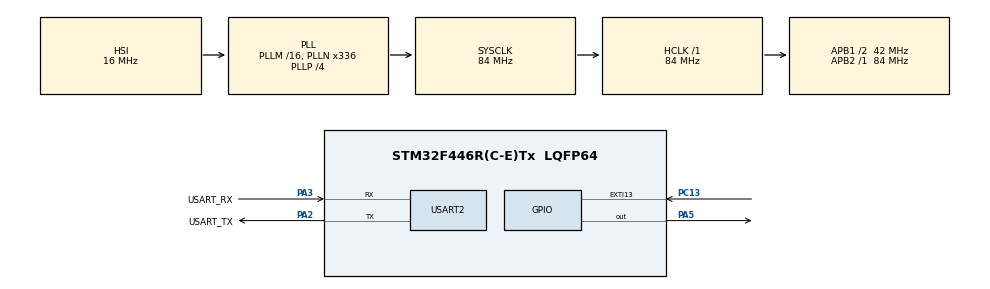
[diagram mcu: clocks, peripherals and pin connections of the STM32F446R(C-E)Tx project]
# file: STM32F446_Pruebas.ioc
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Mcu.Family=STM32F4
Mcu.Name=STM32F446R(C-E)Tx
Mcu.Package=LQFP64
NUCLEO-F446RE.BUTTON=1
NUCLEO-F446RE.LD1=false
NVIC.EXTI15_10_IRQn=true\:0\:0\:false\:false\:true\:false\:true\:true
NVIC.PriorityGroup=NVIC_PRIORITYGROUP_0
NVIC.USART2_IRQn=true\:0\:0\:false\:false\:true\:true\:true\:true
PA13.GPIO_Label=TMS
PA13.Mode=Serial_Wire
PA13.Signal=SYS_JTMS-SWDIO
PA14.GPIO_Label=TCK
PA14.Mode=Serial_Wire
PA14.Signal=SYS_JTCK-SWCLK
PA2.GPIO_Label=USART_TX
PA2.Mode=Asynchronous
PA2.Signal=USART2_TX
PA3.GPIO_Label=USART_RX
PA3.Mode=Asynchronous
PA3.Signal=USART2_RX
PA5.Signal=GPIO_Output
PB3.GPIO_Label=SWO
PB3.Signal=SYS_JTDO-SWO
PC13.Signal=GPXTI13
PC14-OSC32_IN.Signal=RCC_OSC32_IN
PC15-OSC32_OUT.Signal=RCC_OSC32_OUT
PH0-OSC_IN.Signal=RCC_OSC_IN
PH1-OSC_OUT.Signal=RCC_OSC_OUT
ProjectManager.HeapSize=0x200
ProjectManager.StackSize=0x400
ProjectManager.TargetToolchain=CMake
RCC.AHBFreq_Value=84000000
RCC.APB1CLKDivider=RCC_HCLK_DIV2
RCC.APB1Freq_Value=42000000
RCC.APB1TimFreq_Value=84000000
RCC.APB2Freq_Value=84000000
RCC.APB2TimFreq_Value=84000000
RCC.CortexFreq_Value=84000000
RCC.FLatency-AdvancedSettings=FLASH_LATENCY_2
RCC.HCLKFreq_Value=84000000
RCC.HSE_VALUE=8000000
RCC.HSI_VALUE=16000000
RCC.LSE_VALUE=32768
RCC.PLLN=336
RCC.PLLP=RCC_PLLP_DIV4
RCC.SYSCLKFreq_VALUE=84000000
RCC.SYSCLKSource=RCC_SYSCLKSOURCE_PLLCLK
RCC.USBFreq_Value=168000000
RCC.VCOOutputFreq_Value=336000000
USART2.VirtualMode=VM_ASYNC
VP_NUCLEO-F446RE_VS_BSP_COMMON.Mode=COMMON
board=NUCLEO-F446RE

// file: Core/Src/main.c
/* USER CODE BEGIN Header */
/**
  ******************************************************************************
  * @file           : main.c
  * @brief          : Main program body
  ******************************************************************************
  * @attention
  *
  * Copyright (c) 2026 STMicroelectronics.
  * All rights reserved.
  *
  * This software is licensed under terms that can be found in the LICENSE file
  * in the root directory of this software component.
  * If no LICENSE file comes with this software, it is provided AS-IS.
  *
  ******************************************************************************
  */
/* USER CODE END Header */
#include "main.h"

/* USER CODE BEGIN Includes */
#include "stm32f4xx_hal.h"
#include "stm32f4xx_hal_uart.h"
#include "stm32f4xx_nucleo.h"
#include <string.h>
/* USER CODE END Includes */

UART_HandleTypeDef huart2;

/* USER CODE BEGIN PV */
#define UART_RX_BUFFER_SIZE 64U

static uint8_t uart_rx_it_byte; //Received byte by the HAL through interruption

static volatile uint8_t uart_rx_buffer[UART_RX_BUFFER_SIZE]; //Here the bytes pending to proccess are stored

static volatile uint8_t uart_rx_head = 0U; //Position were the UART will write the next byte
static volatile uint8_t uart_rx_tail = 0U; //Position where the main thread will read

static volatile uint32_t uart_rx_dropped = 0U; //Count of the discard bytes if the buffer is full

/* USER CODE END PV */

void SystemClock_Config(void);
static void MX_GPIO_Init(void);
static void MX_USART2_UART_Init(void);

/* USER CODE BEGIN 0 */
static void UART_SendText(const char *text){
  HAL_UART_Transmit(&huart2, (const uint8_t *)text, (uint16_t)strlen(text), 100);
}

static uint8_t UART_ReadByte(uint8_t *byte){
  //Check if the buffer is empty
  if(uart_rx_head == uart_rx_tail){
    return 0U;
  }

  *byte = uart_rx_buffer[uart_rx_tail];

  //Circular buffer
  uart_rx_tail = (uint8_t)((uart_rx_tail + 1U) % UART_RX_BUFFER_SIZE);

  return 1U;
}

/* USER CODE END 0 */

int main(void)
{

  /* MCU Configuration--------------------------------------------------------*/

  /* Reset of all peripherals, Initializes the Flash interface and the Systick. */
  HAL_Init();

  /* Configure the system clock */
  SystemClock_Config();

  /* Initialize all configured peripherals */
  MX_GPIO_Init();
  MX_USART2_UART_Init();
  /* USER CODE BEGIN 2 */
  BSP_LED_Init(LED2);
  BSP_LED_Off(LED2);

  uint8_t rx_byte = 0;
  char command[32] = {0};
  uint8_t command_length = 0;
  uint8_t discard_line = 0;
  uint8_t led_on = 0;

  UART_SendText("STM32F446RE ready\r\n");

  if (HAL_UART_Receive_IT(&huart2, &uart_rx_it_byte, 1U) != HAL_OK)
{
    Error_Handler();
}

  /* USER CODE END 2 */

  /* Initialize USER push-button, will be used to trigger an interrupt each time it's pressed.*/
  BSP_PB_Init(BUTTON_USER, BUTTON_MODE_EXTI);

  /* Infinite loop */
  while (1) {

    /* USER CODE BEGIN 3 */
    while (UART_ReadByte(&rx_byte) != 0U) {

      if (rx_byte == '\r' || rx_byte == '\n') {
        if (discard_line) {
          UART_SendText("ERROR: Command too long \r\n");
          discard_line = 0;
          command_length = 0;
        } else if (command_length > 0) {
          command[command_length] = '\0';

          if (strcmp(command, "LED ON") == 0) {
            BSP_LED_On(LED2);
            led_on = 1;
            UART_SendText("OK: LED ON\r\n");
          } else if (strcmp(command, "LED OFF") == 0) {
            BSP_LED_Off(LED2);
            led_on = 0;
            UART_SendText("OK: LED OFF\r\n");
          } else if (strcmp(command, "STATUS") == 0) {
            if (led_on == 1) {
              UART_SendText("STATUS: LED ON\r\n");
            } else if (led_on == 0) {
              UART_SendText("STATUS: LED OFF\r\n");
            } else {
              UART_SendText("STATUS ERROR: Unknown Status\r\n");
            }
          } else {
            UART_SendText("ERROR: Unknown command\r\n");
          }
          command_length = 0;
        }
      } else if (!discard_line) {
        if (command_length < sizeof(command) - 1U) {
          command[command_length] = (char)rx_byte;
          command_length++;
        } else {
          discard_line = 1;
        }
      }
    }
    /* USER CODE END 3 */
  }
}
void SystemClock_Config(void)
{
  RCC_OscInitTypeDef RCC_OscInitStruct = {0};
  RCC_ClkInitTypeDef RCC_ClkInitStruct = {0};

  /** Configure the main internal regulator output voltage
  */
  __HAL_RCC_PWR_CLK_ENABLE();
  __HAL_PWR_VOLTAGESCALING_CONFIG(PWR_REGULATOR_VOLTAGE_SCALE3);

  /** Initializes the RCC Oscillators according to the specified parameters
  * in the RCC_OscInitTypeDef structure.
  */
  RCC_OscInitStruct.OscillatorType = RCC_OSCILLATORTYPE_HSI;
  RCC_OscInitStruct.HSIState = RCC_HSI_ON;
  RCC_OscInitStruct.HSICalibrationValue = RCC_HSICALIBRATION_DEFAULT;
  RCC_OscInitStruct.PLL.PLLState = RCC_PLL_ON;
  RCC_OscInitStruct.PLL.PLLSource = RCC_PLLSOURCE_HSI;
  RCC_OscInitStruct.PLL.PLLM = 16;
  RCC_OscInitStruct.PLL.PLLN = 336;
  RCC_OscInitStruct.PLL.PLLP = RCC_PLLP_DIV4;
  RCC_OscInitStruct.PLL.PLLQ = 2;
  RCC_OscInitStruct.PLL.PLLR = 2;
  if (HAL_RCC_OscConfig(&RCC_OscInitStruct) != HAL_OK)
  {
    Error_Handler();
  }

  /** Initializes the CPU, AHB and APB buses clocks
  */
  RCC_ClkInitStruct.ClockType = RCC_CLOCKTYPE_HCLK|RCC_CLOCKTYPE_SYSCLK
                              |RCC_CLOCKTYPE_PCLK1|RCC_CLOCKTYPE_PCLK2;
  RCC_ClkInitStruct.SYSCLKSource = RCC_SYSCLKSOURCE_PLLCLK;
  RCC_ClkInitStruct.AHBCLKDivider = RCC_SYSCLK_DIV1;
  RCC_ClkInitStruct.APB1CLKDivider = RCC_HCLK_DIV2;
  RCC_ClkInitStruct.APB2CLKDivider = RCC_HCLK_DIV1;

  if (HAL_RCC_ClockConfig(&RCC_ClkInitStruct, FLASH_LATENCY_2) != HAL_OK)
  {
    Error_Handler();
  }
}

static void MX_USART2_UART_Init(void)
{

  huart2.Instance = USART2;
  huart2.Init.BaudRate = 115200;
  huart2.Init.WordLength = UART_WORDLENGTH_8B;
  huart2.Init.StopBits = UART_STOPBITS_1;
  huart2.Init.Parity = UART_PARITY_NONE;
  huart2.Init.Mode = UART_MODE_TX_RX;
  huart2.Init.HwFlowCtl = UART_HWCONTROL_NONE;
  huart2.Init.OverSampling = UART_OVERSAMPLING_16;
  if (HAL_UART_Init(&huart2) != HAL_OK)
  {
    Error_Handler();
  }

}

static void MX_GPIO_Init(void)
{
  GPIO_InitTypeDef GPIO_InitStruct = {0};

  /* GPIO Ports Clock Enable */
  __HAL_RCC_GPIOC_CLK_ENABLE();
  __HAL_RCC_GPIOH_CLK_ENABLE();
  __HAL_RCC_GPIOA_CLK_ENABLE();
  __HAL_RCC_GPIOB_CLK_ENABLE();

  /*Configure GPIO pin Output Level */
  HAL_GPIO_WritePin(GPIOA, GPIO_PIN_5, GPIO_PIN_RESET);

  /*Configure GPIO pin : PA5 */
  GPIO_InitStruct.Pin = GPIO_PIN_5;
  GPIO_InitStruct.Mode = GPIO_MODE_OUTPUT_PP;
  GPIO_InitStruct.Pull = GPIO_NOPULL;
  GPIO_InitStruct.Speed = GPIO_SPEED_FREQ_LOW;
  HAL_GPIO_Init(GPIOA, &GPIO_InitStruct);

}

/* USER CODE BEGIN 4 */
void HAL_UART_RxCpltCallback(UART_HandleTypeDef *huart){
  if(huart->Instance == USART2){
    uint8_t next_head = (uint8_t)((uart_rx_head + 1U) % UART_RX_BUFFER_SIZE);

    if(next_head != uart_rx_tail){
      uart_rx_buffer[uart_rx_head] = uart_rx_it_byte;
      uart_rx_head = next_head;
    }
    else {
      uart_rx_dropped++;
    }

    HAL_UART_Receive_IT(&huart2, &uart_rx_it_byte, 1U);
  }
}
/* USER CODE END 4 */

void Error_Handler(void)
{
  __disable_irq();
  while (1)
  {
  }
}
